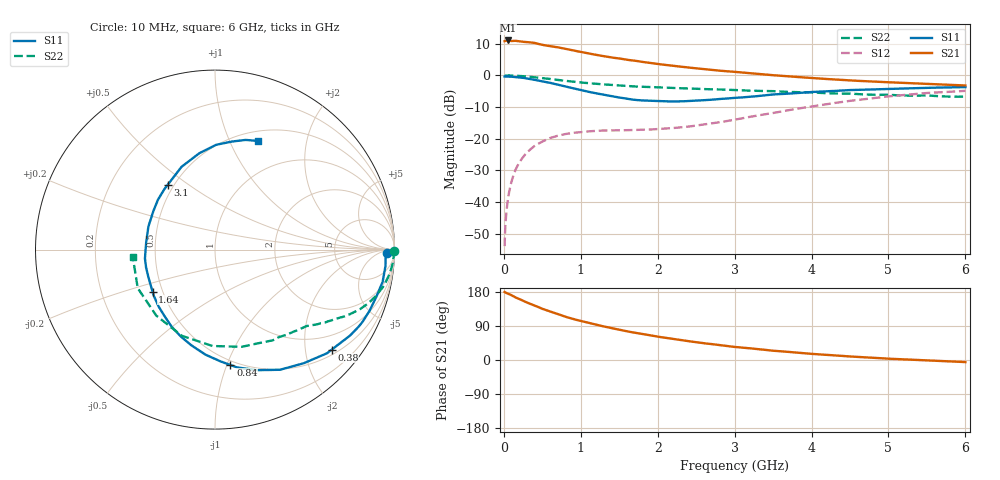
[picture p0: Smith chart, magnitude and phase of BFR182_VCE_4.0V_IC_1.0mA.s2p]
! Infineon Technologies  Discrete & RF Semiconductors
! BFR182
! VCE =  4.0 V,  IC =  1.0 mA
! Common Emitter S-Parameters:  Nov 2015
# GHz  S  MA  R  50
!  f  S11  S21  S12  S22
! GHz  MAG  ANG  MAG  ANG  MAG  ANG  MAG  ANG
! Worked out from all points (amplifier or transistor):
!   210 points, 10 MHz to 6 GHz, reference 50 ohm
!   highest |S21| = 11.0 dB at 50 MHz (marker M1)
!   |S21| within 3 dB of that: start of sweep to 874.9 MHz
!   unconditionally stable (mu >= 1): 1.781 GHz to 3.269 GHz
!   at 185 MHz: K = 0.12, MSG = 19.5 dB, |S12| = -28.2 dB
!   at 1.52 GHz: K = 0.87, MSG = 11.3 dB, |S12| = -17.4 dB
!   at 6 GHz: K = 0.94, MSG = 0.8 dB, |S12| = -4.9 dB
!   S11 on the Smith chart (normalised r, x): 10 MHz: 38, -16; 380 MHz: 0.62, -2.57; 840 MHz: 0.46, -1.03; 1.64 GHz: 0.44, -0.25; 3.1 GHz: 0.46, +0.42; 6 GHz: 0.61, +1.28
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0.01  0.9563 -1.1  3.46 179.4  0.002 93.1  0.9979 -0.4
0.015  0.9539 -1.6  3.477 178.7  0.0031 92.6  0.9944 -0.6
0.025  0.9517 -2.7  3.503 177.6  0.0052 90.3  0.9917 -1.1
0.05  0.9542 -5.5  3.548 175.4  0.0103 86.3  0.9961 -2.2
0.09  0.9511 -9.8  3.49 171.9  0.0189 83.5  0.9938 -3.9
0.16  0.9336 -17.4  3.493 164.4  0.0337 78.7  0.9848 -7.0
0.3  0.8923 -32.4  3.353 151.7  0.0605 70.6  0.9585 -12.6
0.38  0.8563 -40.6  3.263 145.3  0.0732 65.7  0.9366 -15.5
0.5  0.8028 -52.1  3.027 135.1  0.0897 59.5  0.9019 -19.6
0.6  0.7611 -61.6  2.887 127.9  0.1019 55.1  0.8747 -22.2
0.7  0.7131 -70.4  2.768 120.9  0.1109 51.0  0.844 -24.7
0.84  0.6487 -82.4  2.56 111.8  0.1201 46.5  0.8066 -27.6
1.02  0.5789 -96.8  2.312 101.9  0.1274 42.3  0.7649 -30.8
1.3  0.4934 -119.2  2.002 88.5  0.1344 38.3  0.7182 -34.8
1.64  0.4192 -146.1  1.735 74.2  0.1362 38.7  0.6739 -39.0
2.02  0.3916 -174.1  1.497 61.0  0.1422 42.4  0.6445 -44.0
2.6  0.4041 148.8  1.257 44.3  0.1674 51.7  0.6049 -53.4
3.1  0.4475 125.9  1.105 32.7  0.2097 56.4  0.5776 -64.0
3.5  0.4975 112.0  1.003 24.5  0.2537 57.2  0.5618 -74.6
4.1  0.5508 97.1  0.889 14.9  0.3359 53.0  0.5279 -95.2
5.1  0.6137 79.7  0.767 2.6  0.4756 38.9  0.4843 -135.9
6  0.6509 68.4  0.69 -5.5  0.5679 22.7  0.4599 -174.9
